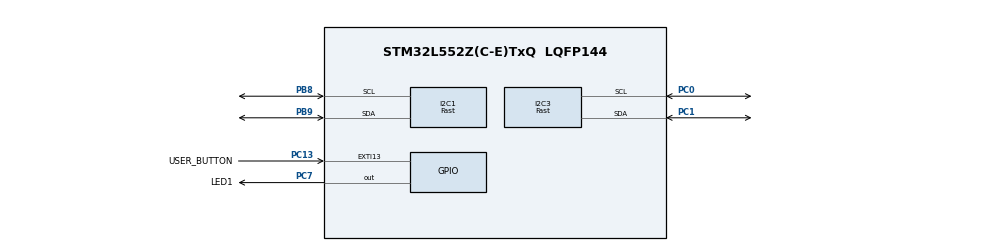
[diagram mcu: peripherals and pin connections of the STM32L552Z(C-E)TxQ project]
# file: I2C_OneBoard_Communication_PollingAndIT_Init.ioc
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I2C1.AddressingMode=I2C_ADDRESSINGMODE_7BIT
I2C1.Analog_Filter=I2C_ANALOGFILTER_DISABLE
I2C1.CustomTiming=Enabled
I2C1.DualAddressMode=I2C_DUALADDRESS_DISABLE
I2C1.GeneralCallMode=I2C_GENERALCALL_DISABLE
I2C1.I2C_Speed_Mode=I2C_Fast
I2C1.NoStretchMode=I2C_NOSTRETCH_DISABLE
I2C1.OwnAddress=0x2D
I2C1.Speed=400
I2C1.Timing=0x00F02B86
I2C3.AddressingMode=I2C_ADDRESSINGMODE_7BIT
I2C3.Analog_Filter=I2C_ANALOGFILTER_ENABLE
I2C3.CustomTiming=Enabled
I2C3.DualAddressMode=I2C_DUALADDRESS_DISABLE
I2C3.GeneralCallMode=I2C_GENERALCALL_DISABLE
I2C3.I2C_Speed_Mode=I2C_Fast
I2C3.NoStretchMode=I2C_NOSTRETCH_DISABLE
I2C3.OwnAddress=0
I2C3.Speed=400
I2C3.Timing=0x00F02B86
Mcu.Family=STM32L5
Mcu.Name=STM32L552Z(C-E)TxQ
Mcu.Package=LQFP144
Mcu.TrustZone=disable
NVIC.EXTI13_IRQn=true\:3\:0\:true\:false\:true\:true\:true\:true
NVIC.I2C1_ER_IRQn=true\:0\:0\:false\:false\:true\:true\:true\:true
NVIC.I2C1_EV_IRQn=true\:0\:0\:false\:false\:true\:true\:true\:true
NVIC.PriorityGroup=NVIC_PRIORITYGROUP_3
PB8.GPIO_Pu=GPIO_PULLUP
PB8.GPIO_Speed=GPIO_SPEED_FREQ_HIGH
PB8.Mode=I2C
PB8.Signal=I2C1_SCL
PB9.GPIO_Pu=GPIO_PULLUP
PB9.GPIO_Speed=GPIO_SPEED_FREQ_HIGH
PB9.Mode=I2C
PB9.Signal=I2C1_SDA
PC0.GPIO_Pu=GPIO_PULLUP
PC0.GPIO_Speed=GPIO_SPEED_FREQ_HIGH
PC0.Mode=I2C
PC0.Signal=I2C3_SCL
PC1.GPIO_Pu=GPIO_PULLUP
PC1.GPIO_Speed=GPIO_SPEED_FREQ_HIGH
PC1.Mode=I2C
PC1.Signal=I2C3_SDA
PC13.GPIO_Label=USER_BUTTON
PC13.GPIO_ModeDefaultEXTI=GPIO_MODE_IT_FALLING
PC13.GPIO_PuPd=GPIO_NOPULL
PC13.Signal=GPXTI13
PC7.GPIO_Label=LED1
PC7.Signal=GPIO_Output
ProjectManager.HeapSize=0x200
ProjectManager.StackSize=0x400
ProjectManager.TargetToolchain=EWARM V8.32
RCC.ADCCLockSelection=RCC_ADCCLKSOURCE_SYSCLK
RCC.ADCFreq_Value=110000000
RCC.AHBFreq_Value=110000000
RCC.APB1Freq_Value=110000000
RCC.APB1TimFreq_Value=110000000
RCC.APB2Freq_Value=110000000
RCC.APB2TimFreq_Value=110000000
RCC.CortexFreq_Value=110000000
RCC.HCLKFreq_Value=110000000
RCC.HSE_VALUE=16000000
RCC.HSI48_VALUE=48000000
RCC.HSI_VALUE=16000000
RCC.LSE_VALUE=32768
RCC.MSI_VALUE=4000000
RCC.PLLN=55
RCC.PLLSAI1N=24
RCC.RTCClockSelection=RCC_RTCCLKSOURCE_LSE
RCC.SYSCLKFreq_VALUE=110000000
RCC.SYSCLKSource=RCC_SYSCLKSOURCE_PLLCLK
RCC.USBFreq_Value=48000000
RCC.VCOOutputFreq_Value=220000000
VP_ICACHE_VS_ICACHE.Mode=DirectMappedCache
VP_PWR_VS_DBSignals.Mode=DisableDeadBatterySignals
board=custom

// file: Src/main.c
/* USER CODE BEGIN Header */
/**
  ******************************************************************************
  * @file    Examples_LL/I2C/I2C_OneBoard_Communication_PollingAndIT_Init/Src/main.c
  * @author  MCD Application Team
  * @brief   This example describes how to send/receive bytes over I2C IP using
  *          the STM32L5xx I2C LL API.
  *          Peripheral initialization done using LL unitary services functions.
  ******************************************************************************
  * @attention
  *
  * Copyright (c) 2019 STMicroelectronics.
  * All rights reserved.
  *
  * This software is licensed under terms that can be found in the LICENSE file
  * in the root directory of this software component.
  * If no LICENSE file comes with this software, it is provided AS-IS.
  *
  ******************************************************************************
  */
/* USER CODE END Header */
#include "main.h"

/* USER CODE BEGIN PD */

/**
  * @brief Timeout value
  */
#if (USE_TIMEOUT == 1)
#define I2C_SEND_TIMEOUT_TXIS_MS       5
#define I2C_SEND_TIMEOUT_SB_MS        5
#define I2C_SEND_TIMEOUT_ADDR_MS      5
#endif /* USE_TIMEOUT */

/* USER CODE END PD */

/* USER CODE BEGIN PV */

#if (USE_TIMEOUT == 1)
uint32_t Timeout = 0; /* Variable used for Timeout management */
#endif /* USE_TIMEOUT */
__IO uint8_t ubButtonPress = 0;
const uint8_t aLedOn[]           = "LED ON";

/**
  * @brief Variables related to SlaveReceive process
  */
uint8_t      aReceiveBuffer[0xF] = {0};
__IO uint8_t ubReceiveIndex      = 0;

/**
  * @brief Variables related to MasterTransmit process
  */
__IO uint8_t  ubNbDataToTransmit = sizeof(aLedOn);
uint8_t      *pTransmitBuffer    = (uint8_t *)aLedOn;

/* USER CODE END PV */

void SystemClock_Config(void);
static void MX_GPIO_Init(void);
static void MX_ICACHE_Init(void);
static void MX_I2C1_Init(void);
static void MX_I2C3_Init(void);
/* USER CODE BEGIN PFP */
uint8_t  Buffercmp8(uint8_t *pBuffer1, uint8_t *pBuffer2, uint8_t BufferLength);
void     LED_On(void);
void     LED_Off(void);
void     LED_Blinking(uint32_t Period);
void     WaitForUserButtonPress(void);
void     Handle_I2C_Master(void);
/* USER CODE END PFP */

int main(void)
{

  /* MCU Configuration--------------------------------------------------------*/

  /* Reset of all peripherals, Initializes the Flash interface and the Systick. */
  LL_APB2_GRP1_EnableClock(LL_APB2_GRP1_PERIPH_SYSCFG);
  LL_APB1_GRP1_EnableClock(LL_APB1_GRP1_PERIPH_PWR);

  /* System interrupt init*/
  NVIC_SetPriorityGrouping(NVIC_PRIORITYGROUP_3);

  /** Disable the internal Pull-Up in Dead Battery pins of UCPD peripheral
  */
  LL_PWR_DisableUCPDDeadBattery();

  /* Configure the system clock */
  SystemClock_Config();

  /* Initialize all configured peripherals */
  MX_GPIO_Init();
  MX_ICACHE_Init();
  MX_I2C1_Init();
  MX_I2C3_Init();
  /* USER CODE BEGIN 2 */
  /* Set LED1 Off */
  LED_Off();

  /* Wait for User push-button press to start transfer */
  WaitForUserButtonPress();

  /* Handle I2C3 events (Master) */
  Handle_I2C_Master();

  /* USER CODE END 2 */

  /* Infinite loop */
  while (1)
  {

  }
}

void SystemClock_Config(void)
{
  LL_FLASH_SetLatency(LL_FLASH_LATENCY_5);
  while(LL_FLASH_GetLatency()!= LL_FLASH_LATENCY_5)
  {
  }

  LL_PWR_SetRegulVoltageScaling(LL_PWR_REGU_VOLTAGE_SCALE0);
  LL_RCC_MSI_Enable();

   /* Wait till MSI is ready */
  while(LL_RCC_MSI_IsReady() != 1)
  {
  }

  LL_RCC_MSI_EnableRangeSelection();
  LL_RCC_MSI_SetRange(LL_RCC_MSIRANGE_6);
  LL_RCC_MSI_SetCalibTrimming(0);
  LL_RCC_PLL_ConfigDomain_SYS(LL_RCC_PLLSOURCE_MSI, LL_RCC_PLLM_DIV_1, 55, LL_RCC_PLLR_DIV_2);
  LL_RCC_PLL_EnableDomain_SYS();
  LL_RCC_PLL_Enable();

   /* Wait till PLL is ready */
  while(LL_RCC_PLL_IsReady() != 1)
  {
  }

   /* Intermediate AHB prescaler 2 when target frequency clock is higher than 80 MHz */
   LL_RCC_SetAHBPrescaler(LL_RCC_SYSCLK_DIV_2);

  LL_RCC_SetSysClkSource(LL_RCC_SYS_CLKSOURCE_PLL);

   /* Wait till System clock is ready */
  while(LL_RCC_GetSysClkSource() != LL_RCC_SYS_CLKSOURCE_STATUS_PLL)
  {
  }

  /* Insure 1us transition state at intermediate medium speed clock*/
  for (__IO uint32_t i = (RCC_MAX_FREQUENCY_MHZ >> 1); i !=0; i--);

  LL_RCC_SetAHBPrescaler(LL_RCC_SYSCLK_DIV_1);
  LL_RCC_SetAPB1Prescaler(LL_RCC_APB1_DIV_1);
  LL_RCC_SetAPB2Prescaler(LL_RCC_APB2_DIV_1);

  LL_Init1msTick(110000000);

  LL_SetSystemCoreClock(110000000);
}

static void MX_I2C1_Init(void)
{

  LL_I2C_InitTypeDef I2C_InitStruct = {0};

  LL_GPIO_InitTypeDef GPIO_InitStruct = {0};

  LL_RCC_SetI2CClockSource(LL_RCC_I2C1_CLKSOURCE_PCLK1);

  LL_AHB2_GRP1_EnableClock(LL_AHB2_GRP1_PERIPH_GPIOB);
  /**I2C1 GPIO Configuration
  PB8   ------> I2C1_SCL
  PB9   ------> I2C1_SDA
  */
  GPIO_InitStruct.Pin = LL_GPIO_PIN_8|LL_GPIO_PIN_9;
  GPIO_InitStruct.Mode = LL_GPIO_MODE_ALTERNATE;
  GPIO_InitStruct.Speed = LL_GPIO_SPEED_FREQ_HIGH;
  GPIO_InitStruct.OutputType = LL_GPIO_OUTPUT_OPENDRAIN;
  GPIO_InitStruct.Pull = LL_GPIO_PULL_UP;
  GPIO_InitStruct.Alternate = LL_GPIO_AF_4;
  LL_GPIO_Init(GPIOB, &GPIO_InitStruct);

  /* Peripheral clock enable */
  LL_APB1_GRP1_EnableClock(LL_APB1_GRP1_PERIPH_I2C1);

  /* I2C1 interrupt Init */
  NVIC_SetPriority(I2C1_EV_IRQn, NVIC_EncodePriority(NVIC_GetPriorityGrouping(),0, 0));
  NVIC_EnableIRQ(I2C1_EV_IRQn);
  NVIC_SetPriority(I2C1_ER_IRQn, NVIC_EncodePriority(NVIC_GetPriorityGrouping(),0, 0));
  NVIC_EnableIRQ(I2C1_ER_IRQn);

  /** I2C Initialization
  */
  LL_I2C_EnableAutoEndMode(I2C1);
  LL_I2C_DisableOwnAddress2(I2C1);
  LL_I2C_DisableGeneralCall(I2C1);
  LL_I2C_EnableClockStretching(I2C1);
  I2C_InitStruct.PeripheralMode = LL_I2C_MODE_I2C;
  I2C_InitStruct.Timing = 0x00F02B86;
  I2C_InitStruct.AnalogFilter = LL_I2C_ANALOGFILTER_DISABLE;
  I2C_InitStruct.DigitalFilter = 0;
  I2C_InitStruct.OwnAddress1 = 90;
  I2C_InitStruct.TypeAcknowledge = LL_I2C_ACK;
  I2C_InitStruct.OwnAddrSize = LL_I2C_OWNADDRESS1_7BIT;
  LL_I2C_Init(I2C1, &I2C_InitStruct);
  LL_I2C_SetOwnAddress2(I2C1, 0, LL_I2C_OWNADDRESS2_NOMASK);
  /* USER CODE BEGIN I2C1_Init 2 */

  /* Enable I2C1 address match/error interrupts:
  *  - Enable Address Match Interrupt
  *  - Enable Not acknowledge received interrupt
  *  - Enable Error interrupts
  *  - Enable Stop interrupt
  */
  LL_I2C_EnableIT_ADDR(I2C1);
  LL_I2C_EnableIT_NACK(I2C1);
  LL_I2C_EnableIT_ERR(I2C1);
  LL_I2C_EnableIT_STOP(I2C1);
  /* USER CODE END I2C1_Init 2 */

}

static void MX_I2C3_Init(void)
{

  LL_I2C_InitTypeDef I2C_InitStruct = {0};

  LL_GPIO_InitTypeDef GPIO_InitStruct = {0};

  LL_RCC_SetI2CClockSource(LL_RCC_I2C3_CLKSOURCE_PCLK1);

  LL_AHB2_GRP1_EnableClock(LL_AHB2_GRP1_PERIPH_GPIOC);
  /**I2C3 GPIO Configuration
  PC0   ------> I2C3_SCL
  PC1   ------> I2C3_SDA
  */
  GPIO_InitStruct.Pin = LL_GPIO_PIN_0|LL_GPIO_PIN_1;
  GPIO_InitStruct.Mode = LL_GPIO_MODE_ALTERNATE;
  GPIO_InitStruct.Speed = LL_GPIO_SPEED_FREQ_HIGH;
  GPIO_InitStruct.OutputType = LL_GPIO_OUTPUT_OPENDRAIN;
  GPIO_InitStruct.Pull = LL_GPIO_PULL_UP;
  GPIO_InitStruct.Alternate = LL_GPIO_AF_4;
  LL_GPIO_Init(GPIOC, &GPIO_InitStruct);

  /* Peripheral clock enable */
  LL_APB1_GRP1_EnableClock(LL_APB1_GRP1_PERIPH_I2C3);

  /** I2C Initialization
  */
  LL_I2C_EnableAutoEndMode(I2C3);
  LL_I2C_DisableOwnAddress2(I2C3);
  LL_I2C_DisableGeneralCall(I2C3);
  LL_I2C_EnableClockStretching(I2C3);
  I2C_InitStruct.PeripheralMode = LL_I2C_MODE_I2C;
  I2C_InitStruct.Timing = 0x00F02B86;
  I2C_InitStruct.AnalogFilter = LL_I2C_ANALOGFILTER_ENABLE;
  I2C_InitStruct.DigitalFilter = 0;
  I2C_InitStruct.OwnAddress1 = 0;
  I2C_InitStruct.TypeAcknowledge = LL_I2C_ACK;
  I2C_InitStruct.OwnAddrSize = LL_I2C_OWNADDRESS1_7BIT;
  LL_I2C_Init(I2C3, &I2C_InitStruct);
  LL_I2C_SetOwnAddress2(I2C3, 0, LL_I2C_OWNADDRESS2_NOMASK);

}

static void MX_ICACHE_Init(void)
{

  /** Enable instruction cache in 1-way (direct mapped cache)
  */
  LL_ICACHE_SetMode(LL_ICACHE_1WAY);
  LL_ICACHE_Enable();

}

static void MX_GPIO_Init(void)
{
  LL_EXTI_InitTypeDef EXTI_InitStruct = {0};
  LL_GPIO_InitTypeDef GPIO_InitStruct = {0};

  /* GPIO Ports Clock Enable */
  LL_AHB2_GRP1_EnableClock(LL_AHB2_GRP1_PERIPH_GPIOC);
  LL_AHB2_GRP1_EnableClock(LL_AHB2_GRP1_PERIPH_GPIOB);

  /**/
  LL_GPIO_ResetOutputPin(LED1_GPIO_Port, LED1_Pin);

  /**/
  LL_EXTI_SetEXTISource(LL_EXTI_EXTI_PORTC, LL_EXTI_EXTI_LINE13);

  /**/
  EXTI_InitStruct.Line_0_31 = LL_EXTI_LINE_13;
  EXTI_InitStruct.Line_32_63 = LL_EXTI_LINE_NONE;
  EXTI_InitStruct.LineCommand = ENABLE;
  EXTI_InitStruct.Mode = LL_EXTI_MODE_IT;
  EXTI_InitStruct.Trigger = LL_EXTI_TRIGGER_FALLING;
  LL_EXTI_Init(&EXTI_InitStruct);

  /**/
  LL_GPIO_SetPinPull(USER_BUTTON_GPIO_Port, USER_BUTTON_Pin, LL_GPIO_PULL_NO);

  /**/
  LL_GPIO_SetPinMode(USER_BUTTON_GPIO_Port, USER_BUTTON_Pin, LL_GPIO_MODE_INPUT);

  /**/
  GPIO_InitStruct.Pin = LED1_Pin;
  GPIO_InitStruct.Mode = LL_GPIO_MODE_OUTPUT;
  GPIO_InitStruct.Speed = LL_GPIO_SPEED_FREQ_LOW;
  GPIO_InitStruct.OutputType = LL_GPIO_OUTPUT_PUSHPULL;
  GPIO_InitStruct.Pull = LL_GPIO_PULL_NO;
  LL_GPIO_Init(LED1_GPIO_Port, &GPIO_InitStruct);

  /* EXTI interrupt init*/
  NVIC_SetPriority(EXTI13_IRQn, NVIC_EncodePriority(NVIC_GetPriorityGrouping(),3, 0));
  NVIC_EnableIRQ(EXTI13_IRQn);

}

/* USER CODE BEGIN 4 */
/**
  * @brief  Compares two 8-bit buffers and returns the comparison result.
  * @param  pBuffer1: pointer to the source buffer to be compared to.
  * @param  pBuffer2: pointer to the second source buffer to be compared to the first.
  * @param  BufferLength: buffer's length.
  * @retval 0: Comparison is OK (the two Buffers are identical)
  *         Value different from 0: Comparison is NOK (Buffers are different)
  */
uint8_t Buffercmp8(uint8_t *pBuffer1, uint8_t *pBuffer2, uint8_t BufferLength)
{
  while (BufferLength--)
  {
    if (*pBuffer1 != *pBuffer2)
    {
      return 1;
    }

    pBuffer1++;
    pBuffer2++;
  }

  return 0;
}

/**
  * @brief  Turn-on LED1.
  * @param  None
  * @retval None
  */
void LED_On(void)
{
  /* Turn LED1 on */
  LL_GPIO_SetOutputPin(LED1_GPIO_Port, LED1_Pin);
}

/**
  * @brief  Turn-off LED1.
  * @param  None
  * @retval None
  */
void LED_Off(void)
{
  /* Turn LED1 off */
  LL_GPIO_ResetOutputPin(LED1_GPIO_Port, LED1_Pin);
}

/**
  * @brief  Set LED1 to Blinking mode for an infinite loop (toggle period based on value provided as input parameter).
  * @param  Period : Period of time (in ms) between each toggling of LED
  *   This parameter can be user defined values. Pre-defined values used in that example are :
  *     @arg LED_BLINK_FAST : Fast Blinking
  *     @arg LED_BLINK_SLOW : Slow Blinking
  *     @arg LED_BLINK_ERROR : Error specific Blinking
  * @retval None
  */
void LED_Blinking(uint32_t Period)
{
  /* Turn LED1 on */
  LL_GPIO_SetOutputPin(LED1_GPIO_Port, LED1_Pin);

  /* Toggle IO in an infinite loop */
  while (1)
  {
    LL_GPIO_TogglePin(LED1_GPIO_Port, LED1_Pin);
    LL_mDelay(Period);
  }
}

/**
  * @brief  Wait for User push-button press to start transfer.
  * @param  None
  * @retval None
  */
/*  */
void WaitForUserButtonPress(void)
{
  while (ubButtonPress == 0)
  {
    LL_GPIO_TogglePin(LED1_GPIO_Port, LED1_Pin);
    LL_mDelay(LED_BLINK_FAST);
  }
  /* Turn LED1 off */
  LL_GPIO_ResetOutputPin(LED1_GPIO_Port, LED1_Pin);
}

/**
  * @brief  This Function handle Master events to perform a transmission process
  * @note  This function is composed in different steps :
  *        -1- Initiate a Start condition to the Slave device
  *        -2- Loop until end of transfer received (STOP flag raised)
  *             -2.1- Transmit data (TXIS flag raised)
  *        -3- Clear pending flags, Data consistency are checking into Slave process
  * @param  None
  * @retval None
  */
void Handle_I2C_Master(void)
{
  /* (1) Initiate a Start condition to the Slave device ***********************/

  /* Master Generate Start condition for a write request :              */
  /*    - to the Slave with a 7-Bit SLAVE_OWN_ADDRESS                   */
  /*    - with a auto stop condition generation when transmit all bytes */
  LL_I2C_HandleTransfer(I2C3, SLAVE_OWN_ADDRESS, LL_I2C_ADDRSLAVE_7BIT, ubNbDataToTransmit, LL_I2C_MODE_AUTOEND, LL_I2C_GENERATE_START_WRITE);

  /* (2) Loop until end of transfer received (STOP flag raised) ***************/

#if (USE_TIMEOUT == 1)
  Timeout = I2C_SEND_TIMEOUT_TXIS_MS;
#endif /* USE_TIMEOUT */

  /* Loop until STOP flag is raised  */
  while (!LL_I2C_IsActiveFlag_STOP(I2C3))
  {
    /* (2.1) Transmit data (TXIS flag raised) *********************************/

    /* Check TXIS flag value in ISR register */
    if (LL_I2C_IsActiveFlag_TXIS(I2C3))
    {
      /* Write data in Transmit Data register.
      TXIS flag is cleared by writing data in TXDR register */
      LL_I2C_TransmitData8(I2C3, (*pTransmitBuffer++));

#if (USE_TIMEOUT == 1)
      Timeout = I2C_SEND_TIMEOUT_TXIS_MS;
#endif /* USE_TIMEOUT */
    }

#if (USE_TIMEOUT == 1)
    /* Check Systick counter flag to decrement the time-out value */
    if (LL_SYSTICK_IsActiveCounterFlag())
    {
      if (Timeout-- == 0)
      {
        /* Time-out occurred. Set LED1 to blinking mode */
        LED_Blinking(LED_BLINK_SLOW);
      }
    }
#endif /* USE_TIMEOUT */
  }

  /* (3) Clear pending flags, Data consistency are checking into Slave process */

  /* End of I2C_SlaveReceiver_MasterTransmitter Process */
  LL_I2C_ClearFlag_STOP(I2C3);
}

/******************************************************************************/
/*   IRQ HANDLER TREATMENT Functions                                          */
/******************************************************************************/
/**
  * @brief  Function to manage User push-button
  * @param  None
  * @retval None
  */
void UserButton_Callback(void)
{
  /* Update User push-button variable : to be checked in waiting loop in main program */
  ubButtonPress = 1;
}

/**
  * @brief  Function called from I2C IRQ Handler when RXNE flag is set
  *         Function is in charge of retrieving received byte on I2C lines.
  * @param  None
  * @retval None
  */
void Slave_Reception_Callback(void)
{
  /* Read character in Receive Data register.
  RXNE flag is cleared by reading data in RXDR register */
  aReceiveBuffer[ubReceiveIndex++] = LL_I2C_ReceiveData8(I2C1);
}

/**
  * @brief  Function called from I2C IRQ Handler when STOP flag is set
  *         Function is in charge of checking data received,
  *         LED1 is On if data are correct.
  * @param  None
  * @retval None
  */
void Slave_Complete_Callback(void)
{
  /* Check if data request to turn on the LED1 */
  if (Buffercmp8((uint8_t *)aReceiveBuffer, (uint8_t *)aLedOn, (ubReceiveIndex - 1)) == 0)
  {
    /* Turn LED1 On */
    /* Expected bytes have been received */
    /* Slave Rx sequence completed successfully*/
    LED_On();
  }
  else
  {
    /* Call Error function */
    Error_Callback();
  }
}

/**
  * @brief  Function called in case of error detected in I2C IT Handler
  * @param  None
  * @retval None
  */
void Error_Callback(void)
{
  /* Disable I2C1_EV_IRQn */
  NVIC_DisableIRQ(I2C1_EV_IRQn);

  /* Disable I2C1_ER_IRQn */
  NVIC_DisableIRQ(I2C1_ER_IRQn);

  /* Unexpected event : Set LED1 to Blinking mode to indicate error occurs */
  LED_Blinking(LED_BLINK_ERROR);
}

/* USER CODE END 4 */

void Error_Handler(void)
{
}

#ifdef  USE_FULL_ASSERT
/**
  * @brief  Reports the name of the source file and the source line number
  *         where the assert_param error has occurred.
  * @param  file: pointer to the source file name
  * @param  line: assert_param error line source number
  * @retval None
  */
void assert_failed(uint8_t *file, uint32_t line)
{
  /* USER CODE BEGIN 6 */
  /* User can add his own implementation to report the file name and line number,
     ex: printf("Wrong parameters value: file %s on line %d\r\n", file, line) */
  /* Infinite loop */
  while (1)
  {}
  /* USER CODE END 6 */
}
#endif /* USE_FULL_ASSERT */
